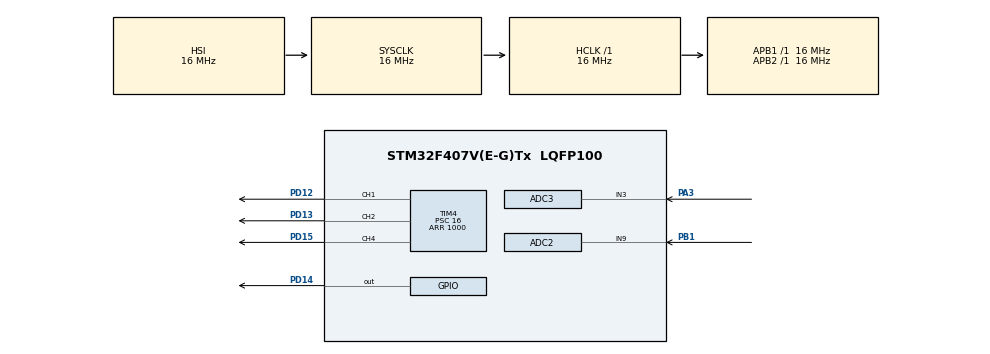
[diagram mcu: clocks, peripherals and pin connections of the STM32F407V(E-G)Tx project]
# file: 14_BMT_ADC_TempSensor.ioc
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ADC1.Channel-0\#ChannelRegularConversion=ADC_CHANNEL_TEMPSENSOR
ADC1.ClockPrescaler=ADC_CLOCK_SYNC_PCLK_DIV8
ADC1.ContinuousConvMode=ENABLE
ADC1.EOCSelection=ADC_EOC_SEQ_CONV
ADC1.NbrOfConversion=1
ADC1.NbrOfConversionFlag=1
ADC1.Rank-0\#ChannelRegularConversion=1
ADC1.SamplingTime-0\#ChannelRegularConversion=ADC_SAMPLETIME_480CYCLES
ADC1.master=1
ADC2.Channel-0\#ChannelRegularConversion=ADC_CHANNEL_9
ADC2.ClockPrescaler=ADC_CLOCK_SYNC_PCLK_DIV8
ADC2.ContinuousConvMode=ENABLE
ADC2.EOCSelection=ADC_EOC_SEQ_CONV
ADC2.NbrOfConversionFlag=1
ADC2.Rank-0\#ChannelRegularConversion=1
ADC2.SamplingTime-0\#ChannelRegularConversion=ADC_SAMPLETIME_480CYCLES
ADC3.Channel-0\#ChannelRegularConversion=ADC_CHANNEL_3
ADC3.ClockPrescaler=ADC_CLOCK_SYNC_PCLK_DIV8
ADC3.ContinuousConvMode=ENABLE
ADC3.EOCSelection=ADC_EOC_SEQ_CONV
ADC3.NbrOfConversionFlag=1
ADC3.Rank-0\#ChannelRegularConversion=1
ADC3.SamplingTime-0\#ChannelRegularConversion=ADC_SAMPLETIME_480CYCLES
Mcu.Family=STM32F4
Mcu.Name=STM32F407V(E-G)Tx
Mcu.Package=LQFP100
NVIC.ADC_IRQn=true\:0\:0\:false\:false\:true\:true\:true\:true
NVIC.PriorityGroup=NVIC_PRIORITYGROUP_4
PA3.Signal=ADCx_IN3
PB1.Signal=ADCx_IN9
PD12.Signal=S_TIM4_CH1
PD13.Signal=S_TIM4_CH2
PD14.Signal=GPIO_Output
PD15.Signal=S_TIM4_CH4
ProjectManager.HeapSize=0x200
ProjectManager.StackSize=0x400
ProjectManager.TargetToolchain=STM32CubeIDE
RCC.AHBFreq_Value=16000000
RCC.APB1Freq_Value=16000000
RCC.APB2Freq_Value=16000000
RCC.CortexFreq_Value=16000000
RCC.HSE_VALUE=25000000
RCC.HSI_VALUE=16000000
RCC.LSE_VALUE=32768
RCC.SYSCLKFreq_VALUE=16000000
RCC.VCOOutputFreq_Value=192000000
SH.ADCx_IN3.0=ADC3_IN3,IN3
SH.ADCx_IN9.0=ADC2_IN9,IN9
SH.S_TIM4_CH1.0=TIM4_CH1,PWM Generation1 CH1
SH.S_TIM4_CH2.0=TIM4_CH2,PWM Generation2 CH2
SH.S_TIM4_CH4.0=TIM4_CH4,PWM Generation4 CH4
TIM4.Channel-PWM\ Generation1\ CH1=TIM_CHANNEL_1
TIM4.Channel-PWM\ Generation2\ CH2=TIM_CHANNEL_2
TIM4.Channel-PWM\ Generation4\ CH4=TIM_CHANNEL_4
TIM4.Period=1000
TIM4.Prescaler=16
VP_ADC1_TempSens_Input.Mode=IN-TempSens
VP_TIM4_VS_ClockSourceINT.Mode=Internal
board=custom

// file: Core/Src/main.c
/* USER CODE BEGIN Header */
/**
  ******************************************************************************
  * @file           : main.c
  * @brief          : Main program body
  ******************************************************************************
  * @attention
  *
  * Copyright (c) 2023 STMicroelectronics.
  * All rights reserved.
  *
  * This software is licensed under terms that can be found in the LICENSE file
  * in the root directory of this software component.
  * If no LICENSE file comes with this software, it is provided AS-IS.
  *
  ******************************************************************************
  */
/* USER CODE END Header */
#include "main.h"

/* USER CODE BEGIN PM */
#define PERIOD 1000

#define DELAY(frequency) ((uint32_t)(500 / frequency)) // ms

/* USER CODE END PM */

ADC_HandleTypeDef hadc1;
ADC_HandleTypeDef hadc2;
ADC_HandleTypeDef hadc3;

TIM_HandleTypeDef htim4;

/* USER CODE BEGIN PV */
uint8_t emergency_situations[3] = {0, 0, 0};

/* USER CODE END PV */

void SystemClock_Config(void);
static void MX_GPIO_Init(void);
static void MX_ADC1_Init(void);
static void MX_TIM4_Init(void);
static void MX_ADC2_Init(void);
static void MX_ADC3_Init(void);
/* USER CODE BEGIN PFP */
void HAL_ADC_ConvCpltCallback(ADC_HandleTypeDef* hadc);
uint8_t getAmountOfEmergencySituations(void);
uint32_t getHighDuration(uint32_t adcValue, uint32_t start, uint32_t end);
/* USER CODE END PFP */

int main(void)
{

  /* MCU Configuration--------------------------------------------------------*/

  /* Reset of all peripherals, Initializes the Flash interface and the Systick. */
  HAL_Init();

  /* Configure the system clock */
  SystemClock_Config();

  /* Initialize all configured peripherals */
  MX_GPIO_Init();
  MX_ADC1_Init();
  MX_TIM4_Init();
  MX_ADC2_Init();
  MX_ADC3_Init();

  /* Infinite loop */
  /* USER CODE BEGIN WHILE */

  HAL_TIM_PWM_Start(&htim4, TIM_CHANNEL_4);
  HAL_TIM_PWM_Start(&htim4, TIM_CHANNEL_2);
  HAL_TIM_PWM_Start(&htim4, TIM_CHANNEL_1);

  HAL_ADC_Start_IT(&hadc1);
  HAL_ADC_Start_IT(&hadc2);
  HAL_ADC_Start_IT(&hadc3);

  while (1)
  {
	  switch (getAmountOfEmergencySituations()){
	  case 1:
		  HAL_Delay(DELAY(1)); // 1Hz
		  HAL_GPIO_TogglePin(GPIOD, GPIO_PIN_14);
		  break;
	  case 2:
		  HAL_Delay((DELAY(2.5))); // 2.5Hz
		  HAL_GPIO_TogglePin(GPIOD, GPIO_PIN_14);
		  break;
	  case 3:
		  HAL_Delay(DELAY(5)); // 5Hz
		  HAL_GPIO_TogglePin(GPIOD, GPIO_PIN_14);
		  break;
	  case 0:
	  default:
		  HAL_GPIO_WritePin(GPIOD, GPIO_PIN_14, GPIO_PIN_RESET);
	  }

    /* USER CODE END WHILE */

  }
}

void SystemClock_Config(void)
{
  RCC_OscInitTypeDef RCC_OscInitStruct = {0};
  RCC_ClkInitTypeDef RCC_ClkInitStruct = {0};

  /** Configure the main internal regulator output voltage
  */
  __HAL_RCC_PWR_CLK_ENABLE();
  __HAL_PWR_VOLTAGESCALING_CONFIG(PWR_REGULATOR_VOLTAGE_SCALE1);

  /** Initializes the RCC Oscillators according to the specified parameters
  * in the RCC_OscInitTypeDef structure.
  */
  RCC_OscInitStruct.OscillatorType = RCC_OSCILLATORTYPE_HSI;
  RCC_OscInitStruct.HSIState = RCC_HSI_ON;
  RCC_OscInitStruct.HSICalibrationValue = RCC_HSICALIBRATION_DEFAULT;
  RCC_OscInitStruct.PLL.PLLState = RCC_PLL_NONE;
  if (HAL_RCC_OscConfig(&RCC_OscInitStruct) != HAL_OK)
  {
    Error_Handler();
  }

  /** Initializes the CPU, AHB and APB buses clocks
  */
  RCC_ClkInitStruct.ClockType = RCC_CLOCKTYPE_HCLK|RCC_CLOCKTYPE_SYSCLK
                              |RCC_CLOCKTYPE_PCLK1|RCC_CLOCKTYPE_PCLK2;
  RCC_ClkInitStruct.SYSCLKSource = RCC_SYSCLKSOURCE_HSI;
  RCC_ClkInitStruct.AHBCLKDivider = RCC_SYSCLK_DIV1;
  RCC_ClkInitStruct.APB1CLKDivider = RCC_HCLK_DIV1;
  RCC_ClkInitStruct.APB2CLKDivider = RCC_HCLK_DIV1;

  if (HAL_RCC_ClockConfig(&RCC_ClkInitStruct, FLASH_LATENCY_0) != HAL_OK)
  {
    Error_Handler();
  }
}

static void MX_ADC1_Init(void)
{

  ADC_ChannelConfTypeDef sConfig = {0};

  /** Configure the global features of the ADC (Clock, Resolution, Data Alignment and number of conversion)
  */
  hadc1.Instance = ADC1;
  hadc1.Init.ClockPrescaler = ADC_CLOCK_SYNC_PCLK_DIV8;
  hadc1.Init.Resolution = ADC_RESOLUTION_12B;
  hadc1.Init.ScanConvMode = DISABLE;
  hadc1.Init.ContinuousConvMode = ENABLE;
  hadc1.Init.DiscontinuousConvMode = DISABLE;
  hadc1.Init.ExternalTrigConvEdge = ADC_EXTERNALTRIGCONVEDGE_NONE;
  hadc1.Init.ExternalTrigConv = ADC_SOFTWARE_START;
  hadc1.Init.DataAlign = ADC_DATAALIGN_RIGHT;
  hadc1.Init.NbrOfConversion = 1;
  hadc1.Init.DMAContinuousRequests = DISABLE;
  hadc1.Init.EOCSelection = ADC_EOC_SEQ_CONV;
  if (HAL_ADC_Init(&hadc1) != HAL_OK)
  {
    Error_Handler();
  }

  /** Configure for the selected ADC regular channel its corresponding rank in the sequencer and its sample time.
  */
  sConfig.Channel = ADC_CHANNEL_TEMPSENSOR;
  sConfig.Rank = 1;
  sConfig.SamplingTime = ADC_SAMPLETIME_480CYCLES;
  if (HAL_ADC_ConfigChannel(&hadc1, &sConfig) != HAL_OK)
  {
    Error_Handler();
  }

}

static void MX_ADC2_Init(void)
{

  ADC_ChannelConfTypeDef sConfig = {0};

  /** Configure the global features of the ADC (Clock, Resolution, Data Alignment and number of conversion)
  */
  hadc2.Instance = ADC2;
  hadc2.Init.ClockPrescaler = ADC_CLOCK_SYNC_PCLK_DIV8;
  hadc2.Init.Resolution = ADC_RESOLUTION_12B;
  hadc2.Init.ScanConvMode = DISABLE;
  hadc2.Init.ContinuousConvMode = ENABLE;
  hadc2.Init.DiscontinuousConvMode = DISABLE;
  hadc2.Init.ExternalTrigConvEdge = ADC_EXTERNALTRIGCONVEDGE_NONE;
  hadc2.Init.ExternalTrigConv = ADC_SOFTWARE_START;
  hadc2.Init.DataAlign = ADC_DATAALIGN_RIGHT;
  hadc2.Init.NbrOfConversion = 1;
  hadc2.Init.DMAContinuousRequests = DISABLE;
  hadc2.Init.EOCSelection = ADC_EOC_SEQ_CONV;
  if (HAL_ADC_Init(&hadc2) != HAL_OK)
  {
    Error_Handler();
  }

  /** Configure for the selected ADC regular channel its corresponding rank in the sequencer and its sample time.
  */
  sConfig.Channel = ADC_CHANNEL_9;
  sConfig.Rank = 1;
  sConfig.SamplingTime = ADC_SAMPLETIME_480CYCLES;
  if (HAL_ADC_ConfigChannel(&hadc2, &sConfig) != HAL_OK)
  {
    Error_Handler();
  }

}

static void MX_ADC3_Init(void)
{

  ADC_ChannelConfTypeDef sConfig = {0};

  /** Configure the global features of the ADC (Clock, Resolution, Data Alignment and number of conversion)
  */
  hadc3.Instance = ADC3;
  hadc3.Init.ClockPrescaler = ADC_CLOCK_SYNC_PCLK_DIV8;
  hadc3.Init.Resolution = ADC_RESOLUTION_12B;
  hadc3.Init.ScanConvMode = DISABLE;
  hadc3.Init.ContinuousConvMode = ENABLE;
  hadc3.Init.DiscontinuousConvMode = DISABLE;
  hadc3.Init.ExternalTrigConvEdge = ADC_EXTERNALTRIGCONVEDGE_NONE;
  hadc3.Init.ExternalTrigConv = ADC_SOFTWARE_START;
  hadc3.Init.DataAlign = ADC_DATAALIGN_RIGHT;
  hadc3.Init.NbrOfConversion = 1;
  hadc3.Init.DMAContinuousRequests = DISABLE;
  hadc3.Init.EOCSelection = ADC_EOC_SEQ_CONV;
  if (HAL_ADC_Init(&hadc3) != HAL_OK)
  {
    Error_Handler();
  }

  /** Configure for the selected ADC regular channel its corresponding rank in the sequencer and its sample time.
  */
  sConfig.Channel = ADC_CHANNEL_3;
  sConfig.Rank = 1;
  sConfig.SamplingTime = ADC_SAMPLETIME_480CYCLES;
  if (HAL_ADC_ConfigChannel(&hadc3, &sConfig) != HAL_OK)
  {
    Error_Handler();
  }

}

static void MX_TIM4_Init(void)
{

  TIM_ClockConfigTypeDef sClockSourceConfig = {0};
  TIM_MasterConfigTypeDef sMasterConfig = {0};
  TIM_OC_InitTypeDef sConfigOC = {0};

  htim4.Instance = TIM4;
  htim4.Init.Prescaler = 16;
  htim4.Init.CounterMode = TIM_COUNTERMODE_UP;
  htim4.Init.Period = 1000;
  htim4.Init.ClockDivision = TIM_CLOCKDIVISION_DIV1;
  htim4.Init.AutoReloadPreload = TIM_AUTORELOAD_PRELOAD_DISABLE;
  if (HAL_TIM_Base_Init(&htim4) != HAL_OK)
  {
    Error_Handler();
  }
  sClockSourceConfig.ClockSource = TIM_CLOCKSOURCE_INTERNAL;
  if (HAL_TIM_ConfigClockSource(&htim4, &sClockSourceConfig) != HAL_OK)
  {
    Error_Handler();
  }
  if (HAL_TIM_PWM_Init(&htim4) != HAL_OK)
  {
    Error_Handler();
  }
  sMasterConfig.MasterOutputTrigger = TIM_TRGO_RESET;
  sMasterConfig.MasterSlaveMode = TIM_MASTERSLAVEMODE_DISABLE;
  if (HAL_TIMEx_MasterConfigSynchronization(&htim4, &sMasterConfig) != HAL_OK)
  {
    Error_Handler();
  }
  sConfigOC.OCMode = TIM_OCMODE_PWM1;
  sConfigOC.Pulse = 0;
  sConfigOC.OCPolarity = TIM_OCPOLARITY_HIGH;
  sConfigOC.OCFastMode = TIM_OCFAST_DISABLE;
  if (HAL_TIM_PWM_ConfigChannel(&htim4, &sConfigOC, TIM_CHANNEL_1) != HAL_OK)
  {
    Error_Handler();
  }
  if (HAL_TIM_PWM_ConfigChannel(&htim4, &sConfigOC, TIM_CHANNEL_2) != HAL_OK)
  {
    Error_Handler();
  }
  if (HAL_TIM_PWM_ConfigChannel(&htim4, &sConfigOC, TIM_CHANNEL_4) != HAL_OK)
  {
    Error_Handler();
  }
  HAL_TIM_MspPostInit(&htim4);

}

static void MX_GPIO_Init(void)
{
  GPIO_InitTypeDef GPIO_InitStruct = {0};

  /* GPIO Ports Clock Enable */
  __HAL_RCC_GPIOA_CLK_ENABLE();
  __HAL_RCC_GPIOB_CLK_ENABLE();
  __HAL_RCC_GPIOD_CLK_ENABLE();

  /*Configure GPIO pin Output Level */
  HAL_GPIO_WritePin(GPIOD, GPIO_PIN_14, GPIO_PIN_RESET);

  /*Configure GPIO pin : PD14 */
  GPIO_InitStruct.Pin = GPIO_PIN_14;
  GPIO_InitStruct.Mode = GPIO_MODE_OUTPUT_PP;
  GPIO_InitStruct.Pull = GPIO_NOPULL;
  GPIO_InitStruct.Speed = GPIO_SPEED_FREQ_LOW;
  HAL_GPIO_Init(GPIOD, &GPIO_InitStruct);

}

/* USER CODE BEGIN 4 */

uint8_t getAmountOfEmergencySituations(void){
	/* count "1" in array emergency_situations[] */
	uint8_t amountEmSit = 0;
	for(uint8_t i = 0; i < 3; i++){
		if (emergency_situations[i]){
			amountEmSit++;
		}
	}
	return amountEmSit;
}

uint32_t getHighDuration(uint32_t adcValue, uint32_t start, uint32_t end){
	/* return duration of high in one period of PWM
	 *
	 * start - ADC value when duty = 0%
	 * end - ADC value when duty = 100%
	 * */
	if (start < end){ //direct proportional dependence
		return PERIOD * (adcValue - start) / (end - start);
	} else if (end < start) { //reverse proportional dependence
		return PERIOD * (start - adcValue) / (start - end);
	} else {
		return PERIOD / 2;
	}
}

void HAL_ADC_ConvCpltCallback(ADC_HandleTypeDef* hadc){
	static uint32_t adcValue1 = 0; //internal temp sensor
	static uint32_t adcValue2 = 0; //external temp sensor
	static uint32_t adcValue3 = 0; //potentiometer

	if (hadc->Instance == ADC1){ //internal temp sensor
		adcValue1 = HAL_ADC_GetValue(&hadc1);
		//Orange LED from -40C to 125C
		TIM4->CCR2 = getHighDuration(adcValue1, 1025, 1415);
		if (adcValue1 > 1100){ // Too high temperature ~35C
			emergency_situations[0] = 1;
		}else{
			emergency_situations[0] = 0;
		}
	}else if (hadc->Instance == ADC2){ //external temp sensor
		adcValue2 = HAL_ADC_GetValue(&hadc2);
		//Green LED from -24C to 100C
		TIM4->CCR1 = getHighDuration(adcValue2, 3500, 0);

		if (adcValue2 < 1400){ // Too high temperature ~50C
			emergency_situations[1] = 1;
		}else{
			emergency_situations[1] = 0;
		}
	}else if (hadc->Instance == ADC3){ //potentiometer
		adcValue3 = HAL_ADC_GetValue(&hadc3);

		TIM4->CCR4 = getHighDuration(adcValue3, 0, 4096); //Blue LED

		if (adcValue3 > 3000){ // Too high voltage
			emergency_situations[2] = 1;
		}else{
			emergency_situations[2] = 0;
		}
	}
}

/* USER CODE END 4 */

void Error_Handler(void)
{
  __disable_irq();
  while (1)
  {
  }
}
